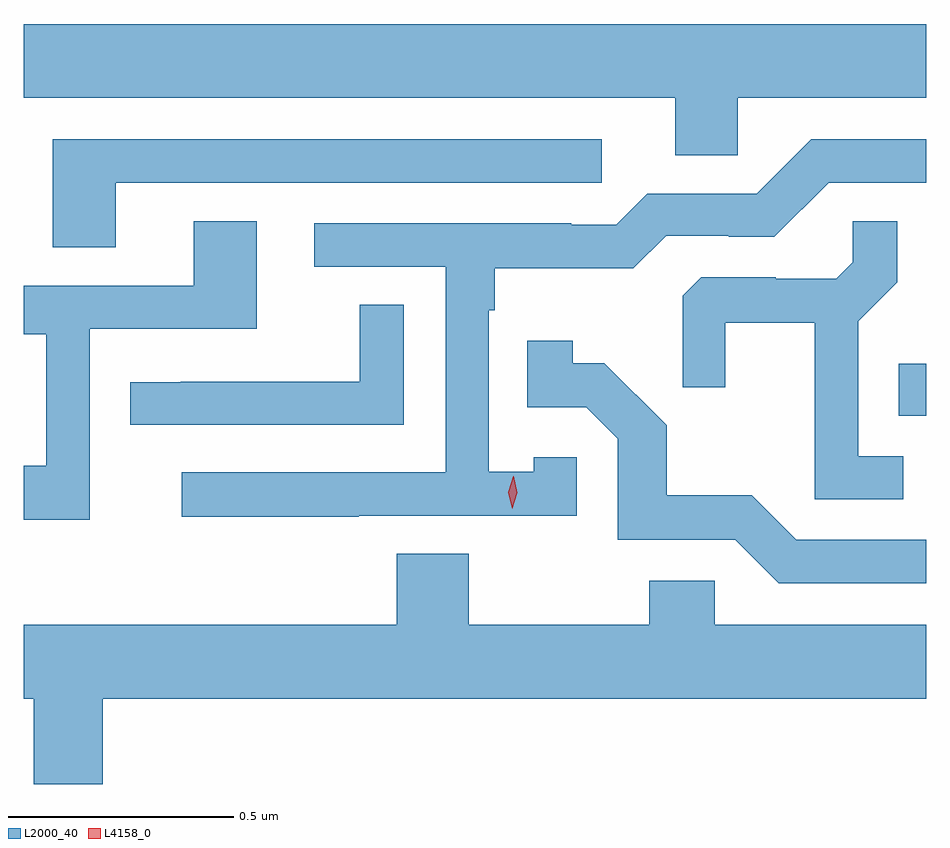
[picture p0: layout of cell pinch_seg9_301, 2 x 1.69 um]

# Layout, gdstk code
import gdstk
lib = gdstk.Library(unit=1e-6, precision=1e-09)
def R(c, l, rs):  # rectangles x0, y0, x1, y1
    for r in rs: c.add(gdstk.rectangle(r[:2], r[2:], *l))
def P(c, l, *ps):  # polygons
    for p in ps: c.add(gdstk.Polygon(p, *l))
L2000_40 = (2000, 40)
L4158_0 = (4158, 0)

pinch_seg9_301 = lib.new_cell('pinch_seg9_301')
R(pinch_seg9_301, L2000_40, [(505.796,1203.707,505.857,1203.823)])
P(pinch_seg9_301, L2000_40, [(505.44,1204.412),(505.857,1204.412),(505.857,1204.576),(503.857,1204.576),(503.857,1204.412),(505.301,1204.412),(505.301,1204.285),(505.44,1204.285)],
  [(504.599,1203.486),(505.083,1203.486),(505.083,1203.615),(504.987,1203.615),(504.987,1203.583),(504.888,1203.583),(504.888,1203.941),(504.901,1203.941),(504.901,1204.034),(505.208,1204.034),(505.281,1204.107),(505.42,1204.107),(505.42,1204.104),(505.521,1204.104),(505.641,1204.224),(505.857,1204.224),(505.857,1204.32),(505.602,1204.32),(505.482,1204.2),(505.239,1204.2),(505.17,1204.131),(505.07,1204.131),(505.07,1204.134),(504.501,1204.134),(504.501,1204.038),(504.792,1204.038),(504.792,1203.582),(504.207,1203.582),(504.207,1203.484),(504.599,1203.484)],
  [(504.061,1204.224),(505.138,1204.224),(505.138,1204.32),(503.921,1204.32),(503.921,1204.081),(504.061,1204.081)],
  [(505.807,1203.618),(505.707,1203.618),(505.707,1203.917),(505.793,1204.003),(505.793,1204.139),(505.695,1204.139),(505.695,1204.048),(505.658,1204.011),(505.524,1204.011),(505.524,1204.014),(505.359,1204.014),(505.318,1203.973),(505.318,1203.771),(505.412,1203.771),(505.412,1203.914),(505.61,1203.914),(505.61,1203.522),(505.807,1203.522)],
  [(504.003,1203.9),(504.373,1203.9),(504.373,1204.139),(504.233,1204.139),(504.233,1203.996),(503.857,1203.996),(503.857,1203.888),(503.906,1203.888),(503.906,1203.597),(503.857,1203.597),(503.857,1203.477),(504.003,1203.477)],
  [(504.699,1203.953),(504.601,1203.953),(504.601,1203.783),(504.205,1203.783),(504.205,1203.782),(504.093,1203.782),(504.093,1203.687),(504.699,1203.687)],
  [(505.857,1203.432),(505.569,1203.432),(505.471,1203.531),(505.282,1203.531),(505.282,1203.686),(505.144,1203.824),(505.074,1203.824),(505.074,1203.874),(504.973,1203.874),(504.973,1203.726),(505.104,1203.726),(505.173,1203.657),(505.173,1203.432),(505.434,1203.432),(505.53,1203.336),(505.857,1203.336)],
  [(504.032,1203.08),(505.857,1203.08),(505.857,1203.244),(505.389,1203.244),(505.389,1203.342),(505.243,1203.342),(505.243,1203.244),(504.843,1203.244),(504.843,1203.401),(504.683,1203.401),(504.683,1203.244),(503.857,1203.244),(503.857,1203.08),(503.879,1203.08),(503.879,1202.891),(504.032,1202.891)])
P(pinch_seg9_301, L4158_0, [(504.94,1203.501),(504.94,1203.501),(504.931,1203.538),(504.942,1203.573),(504.943,1203.573),(504.943,1203.573),(504.951,1203.537),(504.94,1203.501)])

lib.write_gds('pinch_seg9_301.gds')
